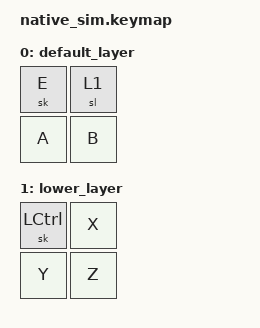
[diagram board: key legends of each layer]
#include <dt-bindings/zmk/keys.h>
#include <behaviors.dtsi>
#include <dt-bindings/zmk/input_matrix_mock.h>

/*
 sticky layers should quick-release.
 Thus, the second keypress should be on the default layer, not on the lower_layer.
*/

/ {
    keymap {
        compatible = "zmk,keymap";

        default_layer {
            bindings = <
                &sk E &sl 1
                &kp A &kp B>;
        };

        lower_layer {
            bindings = <
                &sk LEFT_CONTROL &kp X
                &kp Y  &kp Z>;
        };
    };
};

&matrix {
    events = <
        /* press sl 1 */
        ZMK_MOCK_PRESS(0,1,10)
        ZMK_MOCK_RELEASE(0,1,10)
        /* press X */
        ZMK_MOCK_PRESS(0,1,10)
        /* press A */
        ZMK_MOCK_PRESS(1,0,10)
        ZMK_MOCK_RELEASE(0,1,10)
        ZMK_MOCK_RELEASE(1,0,10)

        /* repeat test to check if cleanup is done correctly */
        /* press sl 1 */
        ZMK_MOCK_PRESS(0,1,10)
        ZMK_MOCK_RELEASE(0,1,10)
        /* press X */
        ZMK_MOCK_PRESS(0,1,10)
        /* press Y */
        ZMK_MOCK_PRESS(1,0,10)
        ZMK_MOCK_RELEASE(0,1,10)
        ZMK_MOCK_RELEASE(1,0,10)
    >;
};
